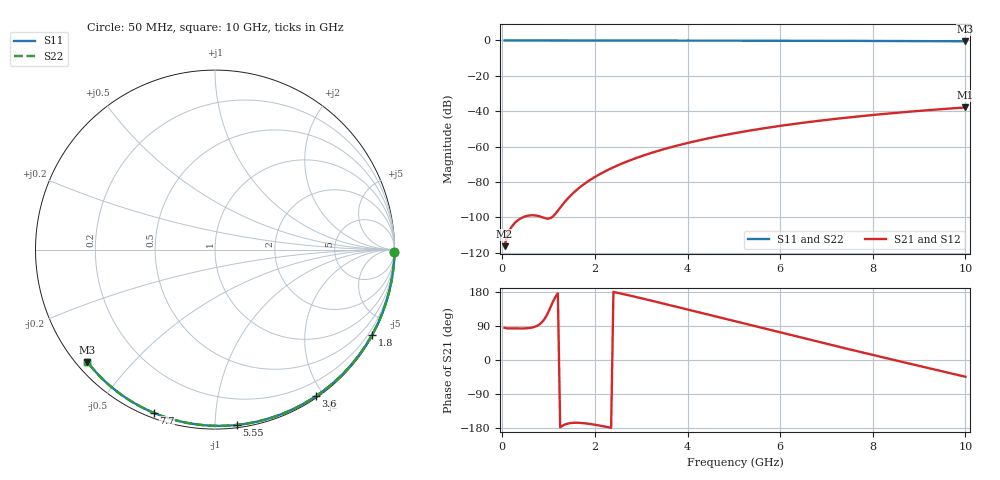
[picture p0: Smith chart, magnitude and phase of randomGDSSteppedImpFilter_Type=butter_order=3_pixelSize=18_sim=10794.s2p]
! freq	dB(S11)	phase(S11)	dB(S12)	phase(S12)
!  dB(S21)	phase(S21)	dB(S22)	phase(S22)
!S-par simulation data
#  GHz  S  DB  R 50
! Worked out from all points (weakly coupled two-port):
!   200 points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, 50 MHz to 10 GHz, reference 50 ohm
!   highest |S21| = -37.84 dB at 10 GHz (marker M1); lowest = -116.2 dB at 50 MHz (marker M2)
!   lowest |S11| = -0.5 dB at 10 GHz (marker M3), VSWR 36.95, Z = 1.55 - j18.9 ohm
!   |S11| at or under -10 dB: nowhere
!   |S22| runs from -0.5 to 0.0 dB; largest |S21 - S12| = 0
!   S11 on the Smith chart (normalised r, x): 50 MHz: open; 1.8 GHz: 0.03, -3.95; 3.6 GHz: 0.02, -1.90; 5.55 GHz: 0.02, -1.13; 7.7 GHz: 0.02, -0.69; 10 GHz: 0.03, -0.38
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0.05  -0.00 -0.8  -116.21 85.1  -116.21 85.1  -0.00 -0.8
0.45  -0.01 -7.2  -99.84 83.3  -99.84 83.3  -0.01 -7.2
0.9  -0.02 -14.4  -100.20 106.1  -100.20 106.1  -0.02 -14.4
1.75  -0.04 -27.7  -81.44 -166.6  -81.44 -166.6  -0.04 -27.7
1.8  -0.04 -28.4  -80.50 -167.3  -80.50 -167.3  -0.04 -28.5
1.85  -0.04 -29.2  -79.60 -168.0  -79.60 -168.0  -0.04 -29.2
2.05  -0.04 -32.3  -76.34 -171.8  -76.34 -171.8  -0.04 -32.3
2.25  -0.05 -35.4  -73.53 -176.5  -73.53 -176.5  -0.05 -35.4
2.55  -0.05 -39.9  -69.91 175.7  -69.91 175.7  -0.05 -40.0
2.95  -0.06 -45.9  -65.87 164.5  -65.87 164.5  -0.06 -46.0
3.4  -0.07 -52.6  -62.09 151.3  -62.09 151.3  -0.07 -52.7
3.6  -0.07 -55.5  -60.60 145.3  -60.60 145.3  -0.07 -55.6
3.9  -0.08 -59.9  -58.56 136.2  -58.56 136.2  -0.08 -59.9
4.3  -0.09 -65.6  -56.12 124.1  -56.12 124.1  -0.09 -65.6
5.05  -0.12 -76.0  -52.23 101.4  -52.23 101.4  -0.12 -76.1
5.55  -0.14 -82.8  -50.03 86.2  -50.03 86.2  -0.14 -82.9
6.1  -0.16 -90.2  -47.88 69.6  -47.88 69.6  -0.16 -90.2
6.7  -0.19 -97.9  -45.82 51.7  -45.82 51.7  -0.19 -98.0
7.7  -0.25 -110.6  -42.88 22.2  -42.88 22.2  -0.25 -110.7
8.35  -0.30 -118.6  -41.25 3.2  -41.25 3.2  -0.30 -118.7
9.2  -0.38 -129.0  -39.37 -21.3  -39.37 -21.3  -0.38 -129.0
10  -0.47 -138.6  -37.84 -44.2  -37.84 -44.2  -0.47 -138.7
